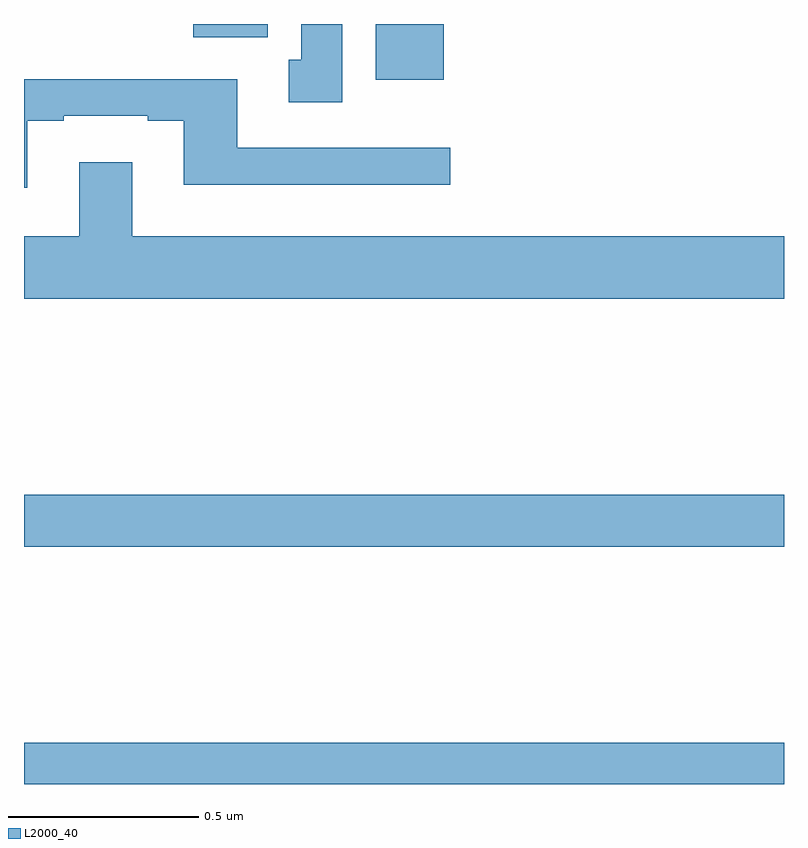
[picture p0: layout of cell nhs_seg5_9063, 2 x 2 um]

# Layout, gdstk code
import gdstk
lib = gdstk.Library(unit=1e-6, precision=1e-09)
def R(c, l, rs):  # rectangles x0, y0, x1, y1
    for r in rs: c.add(gdstk.rectangle(r[:2], r[2:], *l))
def P(c, l, *ps):  # polygons
    for p in ps: c.add(gdstk.Polygon(p, *l))
L2000_40 = (2000, 40)

nhs_seg5_9063 = lib.new_cell('nhs_seg5_9063')
R(nhs_seg5_9063, L2000_40, [(229,872.799,231,872.908), (229,873.424,231,873.56), (229.925,874.652,230.104,874.799), (229.445,874.764,229.641,874.799)])
P(nhs_seg5_9063, L2000_40, [(229.837,874.799),(229.73,874.799),(229.73,874.705),(229.697,874.705),(229.697,874.593),(229.837,874.593)],
  [(229.009,874.545),(229.105,874.545),(229.105,874.557),(229.325,874.557),(229.325,874.545),(229.421,874.545),(229.421,874.376),(230.122,874.376),(230.122,874.473),(229.561,874.473),(229.561,874.654),(229,874.654),(229,874.368),(229.009,874.368)],
  [(231,874.24),(229.285,874.24),(229.285,874.435),(229.145,874.435),(229.145,874.24),(229,874.24),(229,874.076),(231,874.076)])

lib.write_gds('nhs_seg5_9063.gds')
